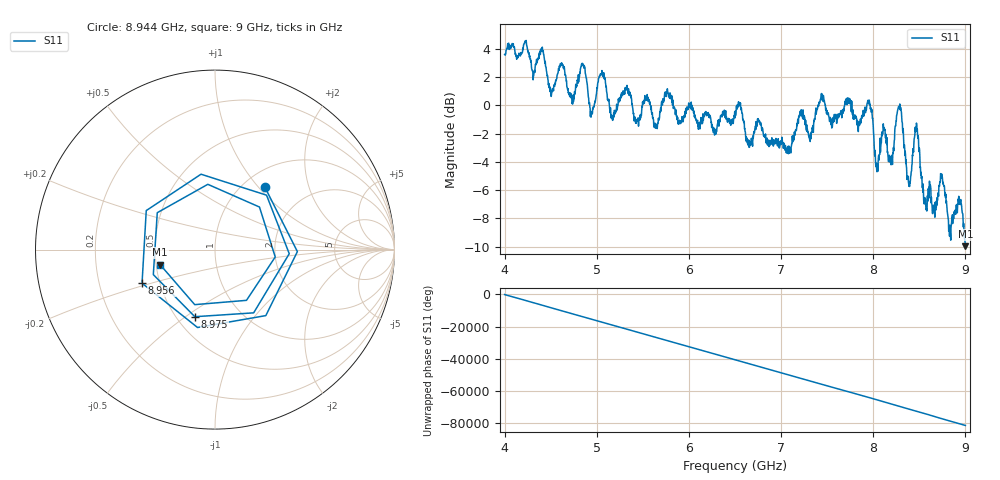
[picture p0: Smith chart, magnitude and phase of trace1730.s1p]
! Created with skrf 1.8.0 (http://scikit-rf.org).
# Hz S RI R 50.0
!freq ReS11 ImS11
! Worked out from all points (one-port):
!   1601 points, 4 GHz to 9 GHz, reference 50 ohm
!   lowest |S11| = -10.0 dB at 9 GHz (marker M1), VSWR 1.93, Z = 26.2 - j4.86 ohm
!   |S11| at or under -10 dB: nowhere
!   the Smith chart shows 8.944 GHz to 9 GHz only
!   S11 on the Smith chart (normalised r, x): 8.944 GHz: 1.24, +1.09; 8.956 GHz: 0.40, -0.19; 8.975 GHz: 0.62, -0.54; 9 GHz: 0.52, -0.10
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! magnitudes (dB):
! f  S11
! 4 GHz  3.6
! 4.403 GHz  4.0
! 4.509 GHz  0.8
! 4.625 GHz  2.9
! 4.731 GHz  0.1
! 4.853 GHz  2.8
! 4.947 GHz  -0.6
! 5.053 GHz  2.3
! 5.162 GHz  -0.9
! 5.25 GHz  0.5
! 5.875 GHz  -0.9
! 6.5 GHz  -0.9
! 7.125 GHz  -2.5
! 7.438 GHz  0.8
! 7.75 GHz  0.2
! 7.959 GHz  0.3
! 8.047 GHz  -4.1
! 8.112 GHz  -1.6
! 8.2 GHz  -3.9
! 8.284 GHz  -0.2
! 8.375 GHz  -5.0
! 8.466 GHz  -1.6
! 8.566 GHz  -6.6
! 8.838 GHz  -9.2
! 8.944 GHz  -7.0
! 8.956 GHz  -7.0
! 8.975 GHz  -8.2
! 9 GHz  -10.0
